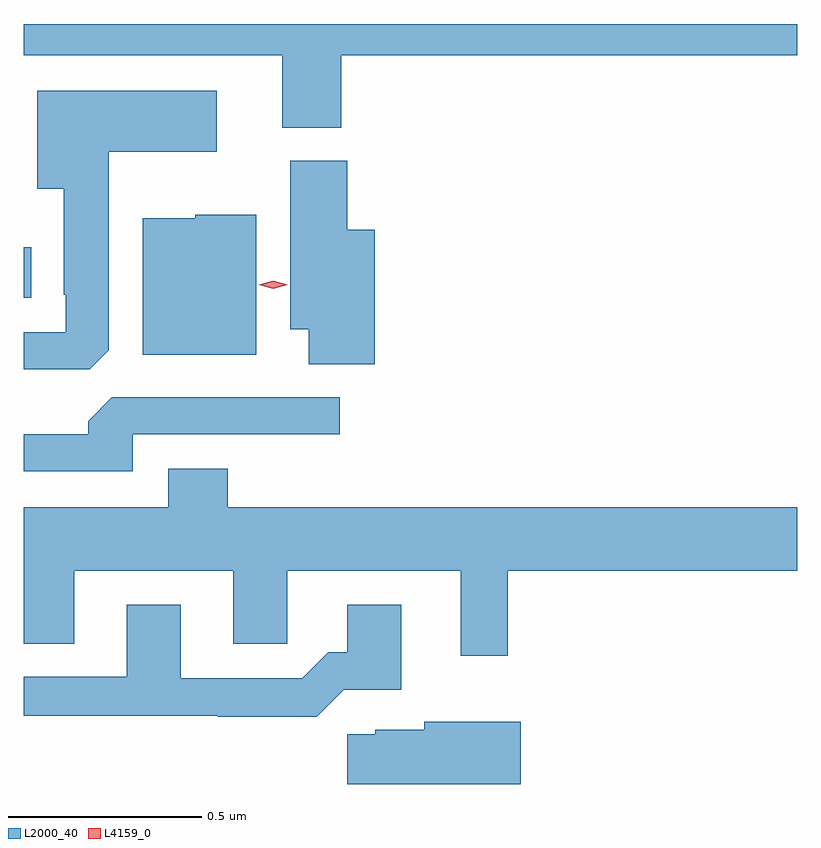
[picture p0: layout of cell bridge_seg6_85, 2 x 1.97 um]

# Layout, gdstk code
import gdstk
lib = gdstk.Library(unit=1e-6, precision=1e-09)
def R(c, l, rs):  # rectangles x0, y0, x1, y1
    for r in rs: c.add(gdstk.rectangle(r[:2], r[2:], *l))
def P(c, l, *ps):  # polygons
    for p in ps: c.add(gdstk.Polygon(p, *l))
L2000_40 = (2000, 40)
L4159_0 = (4159, 0)

bridge_seg6_85 = lib.new_cell('bridge_seg6_85')
R(bridge_seg6_85, L2000_40, [(730.317,982.673,730.336,982.804)])
P(bridge_seg6_85, L2000_40, [(731.138,983.3),(732.317,983.3),(732.317,983.381),(730.317,983.381),(730.317,983.3),(730.985,983.3),(730.985,983.113),(731.138,983.113)],
  [(730.537,982.537),(730.537,983.051),(730.816,983.051),(730.816,983.209),(730.352,983.209),(730.352,982.955),(730.421,982.955),(730.421,982.681),(730.425,982.681),(730.425,982.584),(730.317,982.584),(730.317,982.488),(730.488,982.488)],
  [(731.225,982.849),(731.153,982.849),(731.153,983.028),(731.006,983.028),(731.006,982.592),(731.054,982.592),(731.054,982.501),(731.225,982.501)],
  [(730.918,982.888),(730.761,982.888),(730.761,982.879),(730.625,982.879),(730.625,982.526),(730.918,982.526)],
  [(730.599,982.32),(731.134,982.32),(731.134,982.416),(730.545,982.416),(730.484,982.354),(730.484,982.32),(730.317,982.32),(730.317,982.224),(730.599,982.224)],
  [(731.569,981.968),(732.317,981.968),(732.317,982.132),(730.844,982.132),(730.844,982.231),(730.691,982.231),(730.691,982.132),(730.317,982.132),(730.317,981.778),(730.447,981.778),(730.447,981.968),(730.859,981.968),(730.859,981.778),(730.998,981.778),(730.998,981.968),(731.447,981.968),(731.447,981.747),(731.569,981.747)],
  [(731.145,981.66),(731.293,981.66),(731.293,981.88),(731.153,981.88),(731.153,981.757),(731.104,981.757),(731.037,981.69),(730.723,981.69),(730.723,981.88),(730.583,981.88),(730.583,981.693),(730.317,981.693),(730.317,981.592),(730.819,981.592),(730.819,981.59),(731.075,981.59)],
  [(731.602,981.577),(731.352,981.577),(731.352,981.556),(731.226,981.556),(731.226,981.545),(731.154,981.545),(731.154,981.416),(731.602,981.416)])
P(bridge_seg6_85, L4159_0, [(730.962,982.697),(730.925,982.707),(730.925,982.707),(730.925,982.707),(730.962,982.717),(730.999,982.707),(730.999,982.707),(730.999,982.707)])

lib.write_gds('bridge_seg6_85.gds')
